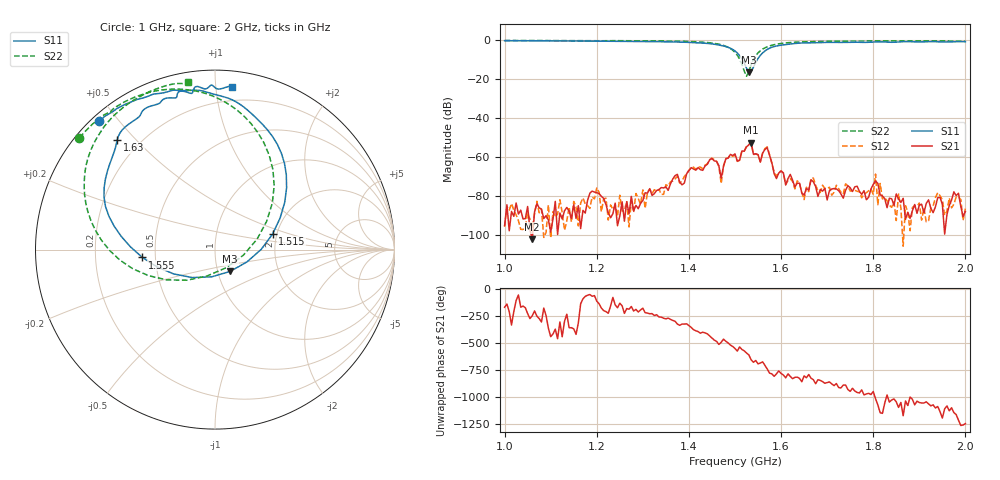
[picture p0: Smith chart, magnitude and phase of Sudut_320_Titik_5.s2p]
# Hz S RI R 50
! CMT, C1220, 16058040, 17.2.0/1
! Date: 14/08/2018 11:51:19
! Data: Format (Calibration Info)
! Freq  S11: Re/Im (F2)  S21: Re/Im (F2)  S12: Re/Im (F2)  S22: Re/Im (F2)
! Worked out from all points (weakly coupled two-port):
!   201 points, 1 GHz to 2 GHz, reference 50 ohm
!   highest |S21| = -52.62 dB at 1.535 GHz (marker M1); lowest = -102.1 dB at 1.06 GHz (marker M2)
!   lowest |S11| = -16.6 dB at 1.53 GHz (marker M3), VSWR 1.35, Z = 57.4 - j14.2 ohm
!   |S11| at or under -10 dB: 1.516 GHz to 1.549 GHz (32.59 MHz wide, 2.13 % of centre)
!   |S22| runs from -18.5 to -0.2 dB; largest |S21 - S12| = 0.00027
!   S11 on the Smith chart (normalised r, x): 1 GHz: 0.02, +0.44; 1.515 GHz: 1.90, +0.37; 1.555 GHz: 0.42, -0.04; 1.63 GHz: 0.12, +0.44; 2 GHz: 0.11, +1.11
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1e9  -0.6479 0.715  -1.7e-05 -3.66e-06  -1.02e-05 -1.27e-05  -0.7555 0.6239
1.06e9  -0.5852 0.7593  -3.09e-06 7.19e-06  1.23e-05 8.12e-06  -0.7142 0.6686
1.17e9  -0.47 0.8221  2.61e-08 -4.27e-05  7.74e-05 -4.44e-05  -0.6188 0.7502
1.335e9  -0.2072 0.8868  -3.06e-05 0.000141  -2.91e-05 0.000146  -0.4017 0.8653
1.45e9  0.1809 0.7777  -5.8e-05 -0.000913  -0.000102 -0.000929  0.0212 0.8406
1.47e9  0.2911 0.6684  -0.000195 -0.00021  -0.000145 -0.000149  0.1625 0.7425
1.48e9  0.3473 0.5863  -0.000486 -0.000752  -0.000467 -0.000786  0.2379 0.6534
1.5e9  0.399 0.3444  -0.00118 0.000212  -0.00108 0.000217  0.3297 0.3556
1.515e9  0.3206 0.0865  -0.00135 0.00047  -0.00136 0.000439  0.2341 0.0577
1.53e9  0.0848 -0.1213  -0.000729 0.00191  -0.000748 0.00196  -0.045 -0.1474
1.535e9  -0.0186 -0.1518  0.000978 0.00212  0.00101 0.00215  -0.1573 -0.1707
1.555e9  -0.4044 -0.0437  0.000602 0.00043  0.000629 0.000425  -0.5299 -0.0584
1.57e9  -0.5617 0.1302  0.00162 -0.000591  0.0017 -0.00066  -0.6662 0.1073
1.59e9  -0.6176 0.3455  0.000119 -0.000254  0.000147 -0.000287  -0.7262 0.3014
1.63e9  -0.545 0.6104  -2.04e-05 -0.000169  -5.91e-05 -0.00014  -0.6963 0.542
1.67e9  -0.4333 0.7317  -0.00011 -0.000202  -0.000137 -0.000254  -0.6271 0.6712
1.775e9  -0.2275 0.8448  -9.26e-05 5.99e-05  -5.83e-05 6.83e-05  -0.4628 0.8271
1.8e9  -0.2087 0.8701  -0.00013 0.000148  4.02e-05 0.000103  -0.4259 0.8489
1.805e9  -0.2039 0.8776  0.000102 0.000221  0.000169 0.000324  -0.4191 0.853
1.81e9  -0.196 0.882  0.000207 2.86e-05  9.29e-06 5.91e-05  -0.4121 0.857
1.835e9  -0.1378 0.871  7.28e-05 4.83e-05  4.94e-05 3.02e-05  -0.3787 0.8738
2e9  0.0964 0.9033  -3.87e-05 -1e-05  1.5e-05 -4.51e-05  -0.153 0.9339
